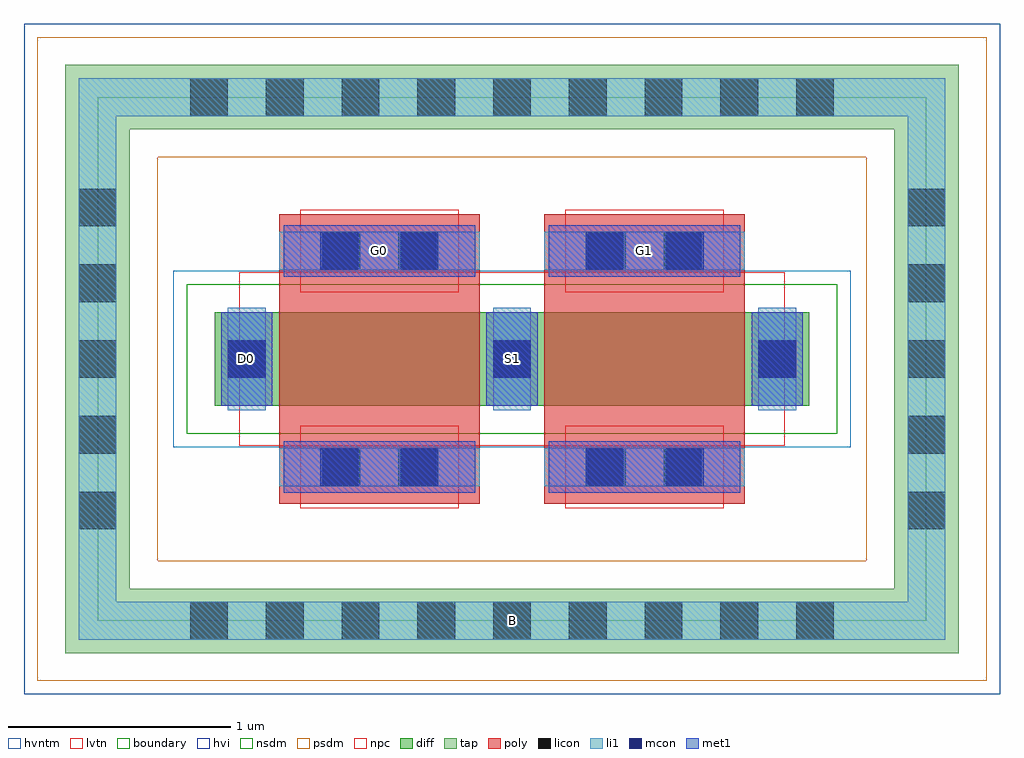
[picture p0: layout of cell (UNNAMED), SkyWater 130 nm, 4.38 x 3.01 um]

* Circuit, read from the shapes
.subckt (UNNAMED) B D0 G0 G1 S1
XM1 S1 G0 D0 B sky130_fd_pr__nfet_05v0_nvt w=0.42 l=0.9
XM2 n1 G1 S1 B sky130_fd_pr__nfet_05v0_nvt w=0.42 l=0.9
.ends

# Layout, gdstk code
import gdstk
lib = gdstk.Library(unit=1e-6, precision=1e-09)
def R(c, l, rs):  # rectangles x0, y0, x1, y1
    for r in rs: c.add(gdstk.rectangle(r[:2], r[2:], *l))
def A(c, l, x, y, w, h, nx, ny, dx, dy):  # array of equal rectangles
    R(c, l, [(x+i*dx, y+j*dy, x+i*dx+w, y+j*dy+h) for i in range(nx) for j in range(ny)])
diff = (65, 20)
tap = (65, 44)
poly = (66, 20)
licon = (66, 44)
li1 = (67, 20)
mcon = (67, 44)
met1 = (68, 20)
hvi = (75, 20)
nsdm = (93, 44)
psdm = (94, 20)
npc = (95, 20)
hvntm = (125, 20)
lvtn = (125, 44)
boundary = (235, 4)

c__unnamed_ = lib.new_cell('(UNNAMED)')
R(c__unnamed_, diff, [(-1.335,-0.21,1.335,0.21)])
R(c__unnamed_, tap, [(-2.005,-1.32,2.005,-1.03), (-2.005,-1.03,-1.715,1.03), (1.715,-1.03,2.005,1.03), (-2.005,1.03,2.005,1.32)])
R(c__unnamed_, poly, [(-1.045,-0.65,-0.145,0.65), (0.145,-0.65,1.045,0.65)])
A(c__unnamed_, licon, -1.445, -1.26, 0.17, 0.17, 9, 2, 0.34, 2.35)
A(c__unnamed_, licon, -1.945, -0.765, 0.17, 0.17, 1, 5, 0, 0.34)
A(c__unnamed_, licon, 1.775, -0.765, 0.17, 0.17, 1, 5, 0, 0.34)
A(c__unnamed_, licon, -1.275, -0.085, 0.17, 0.17, 3, 1, 1.19, 0)
R(c__unnamed_, licon, [(-0.85,-0.57,-0.68,-0.4), (-0.51,-0.57,-0.34,-0.4), (0.34,-0.57,0.51,-0.4), (0.68,-0.57,0.85,-0.4), (-0.85,0.4,-0.68,0.57), (-0.51,0.4,-0.34,0.57), (0.34,0.4,0.51,0.57), (0.68,0.4,0.85,0.57)])
A(c__unnamed_, li1, -1.275, -0.23, 0.17, 0.46, 3, 1, 1.19, 0)
R(c__unnamed_, li1, [(-1.945,-1.26,1.945,-1.09), (-1.945,-1.09,-1.775,1.09), (1.775,-1.09,1.945,1.09), (-1.045,-0.57,-0.145,-0.4), (0.145,-0.57,1.045,-0.4), (-1.045,0.4,-0.145,0.57), (0.145,0.4,1.045,0.57), (-1.945,1.09,1.945,1.26)])
A(c__unnamed_, mcon, -1.275, -0.085, 0.17, 0.17, 3, 1, 1.19, 0)
R(c__unnamed_, mcon, [(-0.86,-0.57,-0.69,-0.4), (-0.5,-0.57,-0.33,-0.4), (0.33,-0.57,0.5,-0.4), (0.69,-0.57,0.86,-0.4), (-0.86,0.4,-0.69,0.57), (-0.5,0.4,-0.33,0.57), (0.33,0.4,0.5,0.57), (0.69,0.4,0.86,0.57)])
A(c__unnamed_, met1, -1.305, -0.21, 0.23, 0.42, 3, 1, 1.19, 0)
R(c__unnamed_, met1, [(-1.025,-0.6,-0.165,-0.37), (0.165,-0.6,1.025,-0.37), (-1.025,0.37,-0.165,0.6), (0.165,0.37,1.025,0.6)])
R(c__unnamed_, hvi, [(-2.19,-1.505,2.19,1.505)])
R(c__unnamed_, nsdm, [(-1.46,-0.335,1.46,0.335)])
R(c__unnamed_, psdm, [(-2.13,-1.445,2.13,-0.905), (-2.13,-0.905,-1.59,0.905), (1.59,-0.905,2.13,0.905), (-2.13,0.905,2.13,1.445)])
R(c__unnamed_, npc, [(-0.95,-0.67,-0.24,-0.3), (0.24,-0.67,0.95,-0.3), (-0.95,0.3,-0.24,0.67), (0.24,0.3,0.95,0.67)])
R(c__unnamed_, hvntm, [(-1.52,-0.395,1.52,0.395)])
R(c__unnamed_, lvtn, [(-1.225,-0.39,1.225,0.39)])
R(c__unnamed_, boundary, [(-1.86,-1.175,1.86,1.175)])
c__unnamed_.add(gdstk.Label('B', (0,-1.175), layer=67, texttype=5))
c__unnamed_.add(gdstk.Label('D0', (-1.19,0), layer=67, texttype=5))
c__unnamed_.add(gdstk.Label('G0', (-0.595,0.485), layer=67, texttype=5))
c__unnamed_.add(gdstk.Label('S1', (0,0), layer=67, texttype=5))
c__unnamed_.add(gdstk.Label('G1', (0.595,0.485), layer=67, texttype=5))

lib.write_gds('_UNNAMED_.gds')
